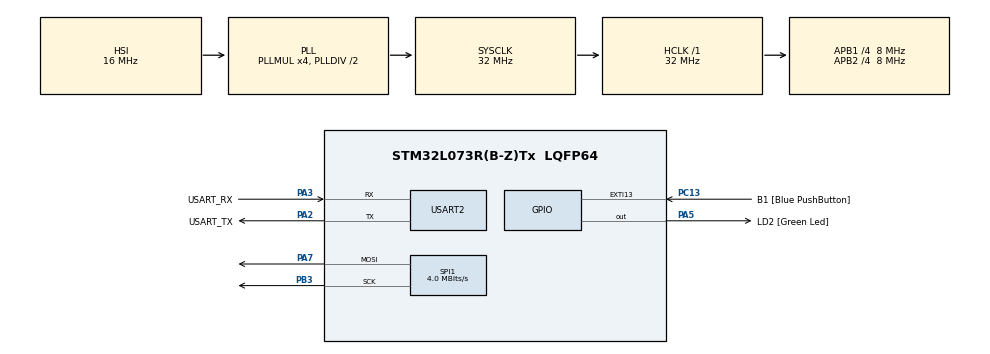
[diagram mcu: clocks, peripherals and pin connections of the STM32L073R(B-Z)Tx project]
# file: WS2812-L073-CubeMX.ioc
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Mcu.Family=STM32L0
Mcu.Name=STM32L073R(B-Z)Tx
Mcu.Package=LQFP64
NVIC.EXTI4_15_IRQn=true\:0\:0\:false\:false\:true\:true\:true
NVIC.SPI1_IRQn=true\:0\:0\:false\:false\:true\:true\:true
NVIC.TIM2_IRQn=true\:0\:0\:false\:false\:true\:true\:true
PA13.GPIO_Label=TMS
PA13.Mode=Serial_Wire
PA13.Signal=SYS_SWDIO
PA14.GPIO_Label=TCK
PA14.Mode=Serial_Wire
PA14.Signal=SYS_SWCLK
PA2.GPIO_Label=USART_TX
PA2.Mode=Asynchronous
PA2.Signal=USART2_TX
PA3.GPIO_Label=USART_RX
PA3.Mode=Asynchronous
PA3.Signal=USART2_RX
PA5.GPIO_Label=LD2 [Green Led]
PA5.Signal=GPIO_Output
PA7.Mode=TX_Only_Simplex_Unidirect_Master
PA7.Signal=SPI1_MOSI
PB3.Mode=TX_Only_Simplex_Unidirect_Master
PB3.Signal=SPI1_SCK
PC13.GPIO_Label=B1 [Blue PushButton]
PC13.GPIO_ModeDefaultEXTI=GPIO_MODE_IT_FALLING
PC13.Signal=GPXTI13
PC14-OSC32_IN.Mode=LSE-External-Oscillator
PC14-OSC32_IN.Signal=RCC_OSC32_IN
PC15-OSC32_OUT.Mode=LSE-External-Oscillator
PC15-OSC32_OUT.Signal=RCC_OSC32_OUT
PH0-OSC_IN.GPIO_Label=MCO
PH0-OSC_IN.Signal=RCC_OSC_IN
ProjectManager.HeapSize=0x200
ProjectManager.StackSize=0x400
ProjectManager.TargetToolchain=Makefile
RCC.AHBFreq_Value=32000000
RCC.APB1CLKDivider=RCC_HCLK_DIV4
RCC.APB1Freq_Value=8000000
RCC.APB1TimFreq_Value=16000000
RCC.APB2CLKDivider=RCC_HCLK_DIV4
RCC.APB2Freq_Value=8000000
RCC.APB2TimFreq_Value=16000000
RCC.HCLKFreq_Value=32000000
RCC.HSE_VALUE=8000000
RCC.HSI16_VALUE=16000000
RCC.HSI48_VALUE=48000000
RCC.HSI_VALUE=16000000
RCC.MSI_VALUE=2097000
RCC.PLLMUL=RCC_PLLMUL_4
RCC.SYSCLKFreq_VALUE=32000000
RCC.SYSCLKSource=RCC_SYSCLKSOURCE_PLLCLK
RCC.VCOOutputFreq_Value=64000000
SPI1.BaudRatePrescaler=SPI_BAUDRATEPRESCALER_2
SPI1.CalculateBaudRate=4.0 MBits/s
SPI1.Direction=SPI_DIRECTION_2LINES
SPI1.FirstBit=SPI_FIRSTBIT_MSB
SPI1.Mode=SPI_MODE_MASTER
SPI1.VirtualType=VM_MASTER
TIM2.Period=640-1
TIM2.Prescaler=1000-1
USART2.VirtualMode-Asynchronous=VM_ASYNC
VP_TIM2_VS_ClockSourceINT.Mode=Internal
VP_TIM2_VS_OPM.Mode=OPM_bit
board=NUCLEO-L073RZ

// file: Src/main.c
/* USER CODE BEGIN Header */
/**
  ******************************************************************************
  * @file           : main.c
  * @brief          : Main program body
  ******************************************************************************
  ** This notice applies to any and all portions of this file
  * that are not between comment pairs USER CODE BEGIN and
  * USER CODE END. Other portions of this file, whether
  * inserted by the user or by software development tools
  * are owned by their respective copyright owners.
  *
  * COPYRIGHT(c) 2018 STMicroelectronics
  *
  * Redistribution and use in source and binary forms, with or without modification,
  * are permitted provided that the following conditions are met:
  *   1. Redistributions of source code must retain the above copyright notice,
  *      this list of conditions and the following disclaimer.
  *   2. Redistributions in binary form must reproduce the above copyright notice,
  *      this list of conditions and the following disclaimer in the documentation
  *      and/or other materials provided with the distribution.
  *   3. Neither the name of STMicroelectronics nor the names of its contributors
  *      may be used to endorse or promote products derived from this software
  *      without specific prior written permission.
  *
  * THIS SOFTWARE IS PROVIDED BY THE COPYRIGHT HOLDERS AND CONTRIBUTORS "AS IS"
  * AND ANY EXPRESS OR IMPLIED WARRANTIES, INCLUDING, BUT NOT LIMITED TO, THE
  * IMPLIED WARRANTIES OF MERCHANTABILITY AND FITNESS FOR A PARTICULAR PURPOSE ARE
  * DISCLAIMED. IN NO EVENT SHALL THE COPYRIGHT HOLDER OR CONTRIBUTORS BE LIABLE
  * FOR ANY DIRECT, INDIRECT, INCIDENTAL, SPECIAL, EXEMPLARY, OR CONSEQUENTIAL
  * DAMAGES (INCLUDING, BUT NOT LIMITED TO, PROCUREMENT OF SUBSTITUTE GOODS OR
  * SERVICES; LOSS OF USE, DATA, OR PROFITS; OR BUSINESS INTERRUPTION) HOWEVER
  * CAUSED AND ON ANY THEORY OF LIABILITY, WHETHER IN CONTRACT, STRICT LIABILITY,
  * OR TORT (INCLUDING NEGLIGENCE OR OTHERWISE) ARISING IN ANY WAY OUT OF THE USE
  * OF THIS SOFTWARE, EVEN IF ADVISED OF THE POSSIBILITY OF SUCH DAMAGE.
  *
  ******************************************************************************
  */
/* USER CODE END Header */

#include "main.h"

/* USER CODE BEGIN Includes */
#include <stdint.h>
#include "WS2812.h"
/* USER CODE END Includes */

SPI_HandleTypeDef hspi1;

TIM_HandleTypeDef htim2;

UART_HandleTypeDef huart2;

/* USER CODE BEGIN PV */
uint8_t *pSPIGrain;
uint8_t SendEnable = 0;
uint8_t SendMode = 0;
uint8_t SendCount = 0;
/* USER CODE END PV */

void SystemClock_Config(void);
static void MX_GPIO_Init(void);
static void MX_USART2_UART_Init(void);
static void MX_SPI1_Init(void);
static void MX_TIM2_Init(void);

int main(void)
{

  /* MCU Configuration--------------------------------------------------------*/

  /* Reset of all peripherals, Initializes the Flash interface and the Systick. */
  HAL_Init();

  /* Configure the system clock */
  SystemClock_Config();

  /* Initialize all configured peripherals */
  MX_GPIO_Init();
  MX_USART2_UART_Init();
  MX_SPI1_Init();
  MX_TIM2_Init();

  /* Infinite loop */
  /* USER CODE BEGIN WHILE */
  StructCore *pWCMCU24_core = WS2812_Init(24);
  HAL_TIM_Base_Start_IT(&htim2);
  while (1)
  {
    if (SendEnable)
    {
      if (SendMode % CC_MAX)
        //Switch to one of the seven pre-defined colors(except the CC_Black)
        //then hue single color
        WS2812_HueSingle(pWCMCU24_core, (ColorCode)(SendMode % CC_MAX), SendCount);
      else
        //Switch to the first color (CC_Black)
        //then hue full color
        WS2812_HueCircle(pWCMCU24_core, SendCount);
      HAL_SPI_Transmit(&hspi1, pWCMCU24_core->pData, pWCMCU24_core->dataLen, 200);
      /* USER CODE END WHILE */

      /* USER CODE BEGIN 3 */
      SendEnable = 0;
    }
  }
  /* USER CODE END 3 */
}

void SystemClock_Config(void)
{
  RCC_OscInitTypeDef RCC_OscInitStruct = {0};
  RCC_ClkInitTypeDef RCC_ClkInitStruct = {0};
  RCC_PeriphCLKInitTypeDef PeriphClkInit = {0};

  /**Configure the main internal regulator output voltage
  */
  __HAL_PWR_VOLTAGESCALING_CONFIG(PWR_REGULATOR_VOLTAGE_SCALE1);
  /**Initializes the CPU, AHB and APB busses clocks
  */
  RCC_OscInitStruct.OscillatorType = RCC_OSCILLATORTYPE_HSI;
  RCC_OscInitStruct.HSIState = RCC_HSI_ON;
  RCC_OscInitStruct.HSICalibrationValue = RCC_HSICALIBRATION_DEFAULT;
  RCC_OscInitStruct.PLL.PLLState = RCC_PLL_ON;
  RCC_OscInitStruct.PLL.PLLSource = RCC_PLLSOURCE_HSI;
  RCC_OscInitStruct.PLL.PLLMUL = RCC_PLLMUL_4;
  RCC_OscInitStruct.PLL.PLLDIV = RCC_PLLDIV_2;
  if (HAL_RCC_OscConfig(&RCC_OscInitStruct) != HAL_OK)
  {
    Error_Handler();
  }
  /**Initializes the CPU, AHB and APB busses clocks
  */
  RCC_ClkInitStruct.ClockType = RCC_CLOCKTYPE_HCLK | RCC_CLOCKTYPE_SYSCLK | RCC_CLOCKTYPE_PCLK1 | RCC_CLOCKTYPE_PCLK2;
  RCC_ClkInitStruct.SYSCLKSource = RCC_SYSCLKSOURCE_PLLCLK;
  RCC_ClkInitStruct.AHBCLKDivider = RCC_SYSCLK_DIV1;
  RCC_ClkInitStruct.APB1CLKDivider = RCC_HCLK_DIV4;
  RCC_ClkInitStruct.APB2CLKDivider = RCC_HCLK_DIV4;

  if (HAL_RCC_ClockConfig(&RCC_ClkInitStruct, FLASH_LATENCY_1) != HAL_OK)
  {
    Error_Handler();
  }
  PeriphClkInit.PeriphClockSelection = RCC_PERIPHCLK_USART2;
  PeriphClkInit.Usart2ClockSelection = RCC_USART2CLKSOURCE_PCLK1;
  if (HAL_RCCEx_PeriphCLKConfig(&PeriphClkInit) != HAL_OK)
  {
    Error_Handler();
  }
}

static void MX_SPI1_Init(void)
{

  /* SPI1 parameter configuration*/
  hspi1.Instance = SPI1;
  hspi1.Init.Mode = SPI_MODE_MASTER;
  hspi1.Init.Direction = SPI_DIRECTION_2LINES;
  hspi1.Init.DataSize = SPI_DATASIZE_8BIT;
  hspi1.Init.CLKPolarity = SPI_POLARITY_LOW;
  hspi1.Init.CLKPhase = SPI_PHASE_1EDGE;
  hspi1.Init.NSS = SPI_NSS_SOFT;
  hspi1.Init.BaudRatePrescaler = SPI_BAUDRATEPRESCALER_2;
  hspi1.Init.FirstBit = SPI_FIRSTBIT_MSB;
  hspi1.Init.TIMode = SPI_TIMODE_DISABLE;
  hspi1.Init.CRCCalculation = SPI_CRCCALCULATION_DISABLE;
  hspi1.Init.CRCPolynomial = 7;
  if (HAL_SPI_Init(&hspi1) != HAL_OK)
  {
    Error_Handler();
  }
}

static void MX_TIM2_Init(void)
{

  TIM_ClockConfigTypeDef sClockSourceConfig = {0};
  TIM_MasterConfigTypeDef sMasterConfig = {0};

  htim2.Instance = TIM2;
  htim2.Init.Prescaler = 1000 - 1;
  htim2.Init.CounterMode = TIM_COUNTERMODE_UP;
  htim2.Init.Period = 640 - 1;
  htim2.Init.ClockDivision = TIM_CLOCKDIVISION_DIV1;
  htim2.Init.AutoReloadPreload = TIM_AUTORELOAD_PRELOAD_DISABLE;
  if (HAL_TIM_Base_Init(&htim2) != HAL_OK)
  {
    Error_Handler();
  }
  sClockSourceConfig.ClockSource = TIM_CLOCKSOURCE_INTERNAL;
  if (HAL_TIM_ConfigClockSource(&htim2, &sClockSourceConfig) != HAL_OK)
  {
    Error_Handler();
  }
  sMasterConfig.MasterOutputTrigger = TIM_TRGO_RESET;
  sMasterConfig.MasterSlaveMode = TIM_MASTERSLAVEMODE_DISABLE;
  if (HAL_TIMEx_MasterConfigSynchronization(&htim2, &sMasterConfig) != HAL_OK)
  {
    Error_Handler();
  }
}

static void MX_USART2_UART_Init(void)
{

  huart2.Instance = USART2;
  huart2.Init.BaudRate = 115200;
  huart2.Init.WordLength = UART_WORDLENGTH_8B;
  huart2.Init.StopBits = UART_STOPBITS_1;
  huart2.Init.Parity = UART_PARITY_NONE;
  huart2.Init.Mode = UART_MODE_TX_RX;
  huart2.Init.HwFlowCtl = UART_HWCONTROL_NONE;
  huart2.Init.OverSampling = UART_OVERSAMPLING_16;
  huart2.Init.OneBitSampling = UART_ONE_BIT_SAMPLE_DISABLE;
  huart2.AdvancedInit.AdvFeatureInit = UART_ADVFEATURE_NO_INIT;
  if (HAL_UART_Init(&huart2) != HAL_OK)
  {
    Error_Handler();
  }
}

static void MX_GPIO_Init(void)
{
  GPIO_InitTypeDef GPIO_InitStruct = {0};

  /* GPIO Ports Clock Enable */
  __HAL_RCC_GPIOC_CLK_ENABLE();
  __HAL_RCC_GPIOH_CLK_ENABLE();
  __HAL_RCC_GPIOA_CLK_ENABLE();
  __HAL_RCC_GPIOB_CLK_ENABLE();

  /*Configure GPIO pin Output Level */
  HAL_GPIO_WritePin(LD2_GPIO_Port, LD2_Pin, GPIO_PIN_RESET);

  /*Configure GPIO pin : B1_Pin */
  GPIO_InitStruct.Pin = B1_Pin;
  GPIO_InitStruct.Mode = GPIO_MODE_IT_FALLING;
  GPIO_InitStruct.Pull = GPIO_NOPULL;
  HAL_GPIO_Init(B1_GPIO_Port, &GPIO_InitStruct);

  /*Configure GPIO pin : LD2_Pin */
  GPIO_InitStruct.Pin = LD2_Pin;
  GPIO_InitStruct.Mode = GPIO_MODE_OUTPUT_PP;
  GPIO_InitStruct.Pull = GPIO_NOPULL;
  GPIO_InitStruct.Speed = GPIO_SPEED_FREQ_LOW;
  HAL_GPIO_Init(LD2_GPIO_Port, &GPIO_InitStruct);

  /* EXTI interrupt init*/
  HAL_NVIC_SetPriority(EXTI4_15_IRQn, 0, 0);
  HAL_NVIC_EnableIRQ(EXTI4_15_IRQn);
}

void Error_Handler(void)
{
}

/************************ (C) COPYRIGHT STMicroelectronics *****END OF FILE****/
